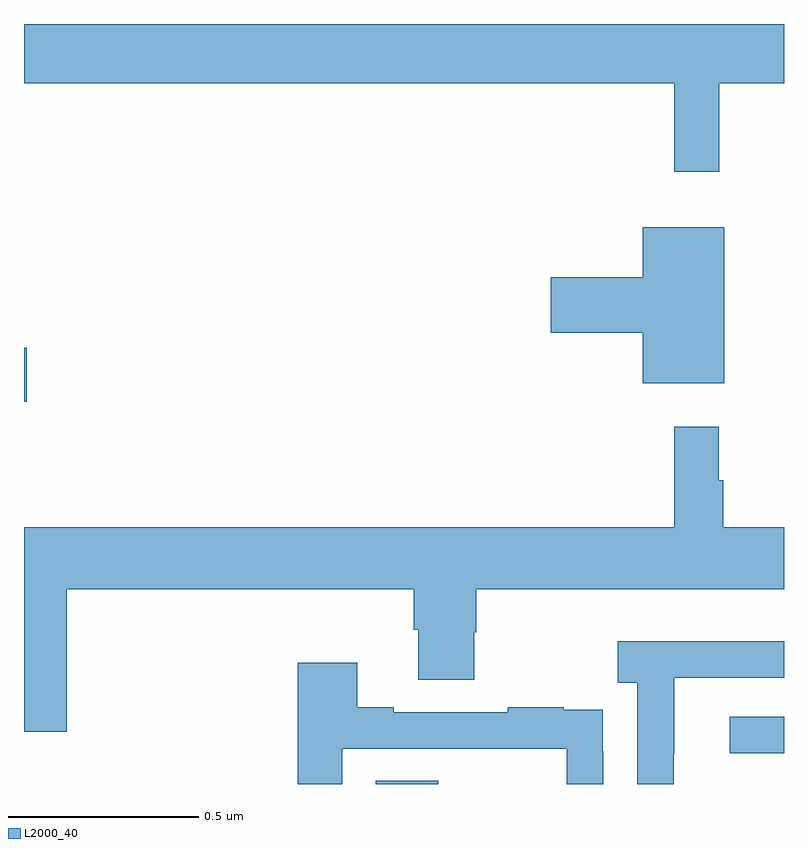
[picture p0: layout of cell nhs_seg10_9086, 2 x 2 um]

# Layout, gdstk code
import gdstk
lib = gdstk.Library(unit=1e-6, precision=1e-09)
def R(c, l, rs):  # rectangles x0, y0, x1, y1
    for r in rs: c.add(gdstk.rectangle(r[:2], r[2:], *l))
def P(c, l, *ps):  # polygons
    for p in ps: c.add(gdstk.Polygon(p, *l))
L2000_40 = (2000, 40)

nhs_seg10_9086 = lib.new_cell('nhs_seg10_9086')
R(nhs_seg10_9086, L2000_40, [(225.926,1270.5,226.09,1270.508), (226.857,1270.581,227,1270.677), (225,1271.506,225.007,1271.648)])
P(nhs_seg10_9086, L2000_40, [(226.829,1272.344),(227,1272.344),(227,1272.5),(225,1272.5),(225,1272.344),(226.711,1272.344),(226.711,1272.111),(226.829,1272.111)],
  [(226.843,1271.965),(226.628,1271.965),(226.628,1271.834),(226.386,1271.834),(226.386,1271.687),(226.628,1271.687),(226.628,1271.555),(226.843,1271.555)],
  [(226.828,1271.3),(226.828,1271.44),(226.711,1271.44),(226.711,1271.176),(225,1271.176),(225,1270.638),(225.112,1270.638),(225.112,1271.012),(226.025,1271.012),(226.025,1270.906),(226.037,1270.906),(226.037,1270.774),(226.185,1270.774),(226.185,1270.899),(226.19,1270.899),(226.19,1271.012),(227,1271.012),(227,1271.176),(226.84,1271.176),(226.84,1271.3)],
  [(226.71,1270.579),(226.711,1270.579),(226.711,1270.779),(227,1270.779),(227,1270.876),(226.563,1270.876),(226.563,1270.766),(226.614,1270.766),(226.614,1270.5),(226.71,1270.5)],
  [(225.837,1270.593),(226.428,1270.593),(226.428,1270.5),(226.524,1270.5),(226.524,1270.586),(226.523,1270.586),(226.523,1270.695),(226.421,1270.695),(226.421,1270.702),(226.273,1270.702),(226.273,1270.689),(225.973,1270.689),(225.973,1270.702),(225.877,1270.702),(225.877,1270.819),(225.721,1270.819),(225.721,1270.5),(225.837,1270.5)])

lib.write_gds('nhs_seg10_9086.gds')
